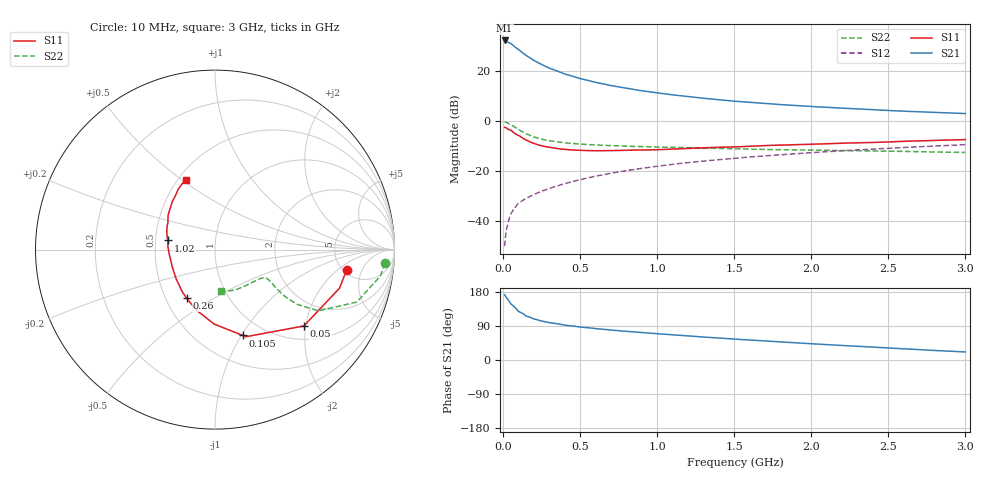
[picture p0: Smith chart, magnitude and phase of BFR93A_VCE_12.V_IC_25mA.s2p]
! (c) 2015  Infineon Technologies AG, Munich
! Infineon Technologies  Discrete & RF Semiconductors
! BFR93A
! VCE =  12. V,  IC =  25 mA
! Common Emitter S-Parameters:  Nov 2015
# GHz  S  MA  R  50
!  f  S11  S21  S12  S22
! GHz  MAG  ANG  MAG  ANG  MAG  ANG  MAG  ANG
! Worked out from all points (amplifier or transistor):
!   180 points, 10 MHz to 3 GHz, reference 50 ohm
!   highest |S21| = 32.0 dB at 10 MHz (marker M1)
!   |S21| within 3 dB of that: start of sweep to 86.15 MHz
!   unconditionally stable (mu >= 1): 431.5 MHz to 2.768 GHz
!   at 160 MHz: K = 0.69, MSG = 28.1 dB, |S12| = -30.5 dB
!   at 1.22 GHz: K = 1.08, MAG = 11.3 dB, |S12| = -16.5 dB
!   at 3 GHz: K = 0.98, MSG = 6.2 dB, |S12| = -9.5 dB
!   S11 on the Smith chart (normalised r, x): 10 MHz: 5.41, -2.68; 50 MHz: 1.32, -1.95; 105 MHz: 0.79, -1.01; 260 MHz: 0.64, -0.38; 1.02 GHz: 0.58, +0.06; 3 GHz: 0.54, +0.52
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0.01  0.7425 -8.6  39.74 172.3  0.0032 80.7  0.9497 -4.6
0.02  0.7264 -17.2  38.84 165.9  0.0062 78.8  0.9339 -9.0
0.05  0.6527 -40.7  34.56 148.3  0.0139 71.1  0.8423 -20.3
0.1  0.515 -70.5  26.2 128.4  0.0229 64.0  0.6703 -30.6
0.105  0.5026 -72.1  25.54 127.4  0.0235 63.8  0.6582 -30.9
0.15  0.4148 -90.7  19.99 116.1  0.0287 62.2  0.5499 -33.7
0.2  0.3552 -106.2  15.94 108.4  0.0342 63.1  0.4773 -33.9
0.24  0.3243 -115.7  13.7 104.0  0.0385 63.8  0.4399 -33.3
0.26  0.3135 -120.2  12.75 102.0  0.0407 64.3  0.4246 -32.9
0.3  0.2979 -127.7  11.17 98.6  0.045 65.2  0.4006 -32.1
0.4  0.27 -143.7  8.542 92.0  0.0561 67.2  0.3637 -30.3
0.5  0.2584 -155.9  6.928 87.0  0.0674 68.1  0.3437 -29.4
0.52  0.257 -157.7  6.705 86.3  0.0697 68.2  0.341 -29.3
0.6  0.254 -164.9  5.828 82.8  0.079 68.4  0.33 -29.1
0.7  0.2557 -172.3  5.027 79.0  0.0905 68.3  0.3206 -29.4
0.8  0.2592 -179.1  4.429 75.5  0.1021 68.1  0.3129 -30.1
1.02  0.2676 169.0  3.523 68.8  0.1269 66.5  0.3 -32.5
1.3  0.2912 157.3  2.812 60.6  0.1578 64.3  0.2862 -37.2
1.52  0.3036 149.9  2.433 54.7  0.182 62.3  0.2758 -41.3
2.02  0.3428 135.9  1.911 42.4  0.234 57.4  0.2606 -52.6
2.52  0.3829 123.8  1.595 31.4  0.2861 52.1  0.2482 -65.8
3  0.4234 112.8  1.394 21.2  0.3357 46.9  0.2349 -81.7
